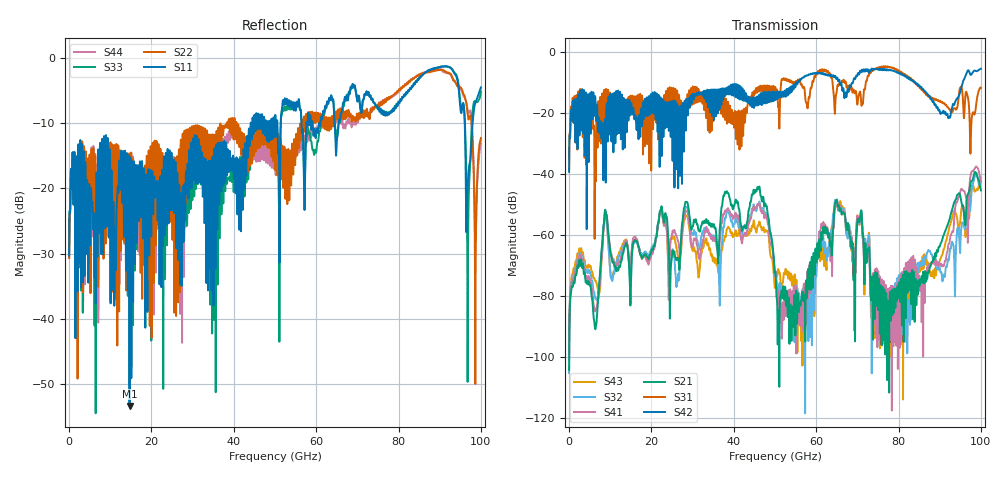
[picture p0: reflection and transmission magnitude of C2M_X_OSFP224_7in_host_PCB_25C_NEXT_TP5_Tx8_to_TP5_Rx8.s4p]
# GHz S RI R 45
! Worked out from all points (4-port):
!   4000 points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, 25 MHz to 100 GHz, reference 45 ohm
!   strongest paths, dB at 25 MHz, 25.02 GHz, 50.02 GHz, 75.03 GHz, 100 GHz:
!     S42: -39.2, -18.3, -14.0, -5.4, -5.4
!     S31: -38.3, -14.7, -11.4, -4.9, -11.6
!     S21: -104.3, -66.3, -72.3, -83.8, -45.3
!     S41: -100.7, -59.4, -72.2, -72.6, -42.3
!     S32: -105.3, -65.3, -73.4, -74.4, -42.5
!     S43: -92.1, -60.8, -77.2, -81.3, -41.2
!   lowest |S11| = -53.3 dB at 14.7 GHz (marker M1), VSWR 1.00, Z = 45.2 + j0.0644 ohm
!   |S11| at or under -10 dB: start of sweep to 44.11 GHz; 59.15 GHz to 61.04 GHz (1.886 GHz wide, 3.14 % of centre); 96.08 GHz to 98 GHz (1.927 GHz wide, 1.99 % of centre) (the widest 3 of 23)
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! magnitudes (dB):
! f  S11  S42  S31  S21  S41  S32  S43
! 25 MHz  -30.3  -39.2  -38.3  -104.3  -100.7  -105.3  -92.1
! 14.7 GHz  -53.3  -16.0  -20.9  -72.6  -70.4  -72.8  -71.9
! 45.85 GHz  -9.0  -17.4  -11.8  -44.4  -49.9  -50.0  -56.8
! 50.85 GHz  -14.4  -12.9  -17.8  -84.6  -84.3  -79.7  -71.3
! 65.08 GHz  -12.4  -8.3  -11.7  -48.8  -48.4  -48.7  -50.8
! 85.58 GHz  -2.8  -11.4  -12.3  -73.7  -84.2  -69.0  -70.7
! 100 GHz  -4.6  -5.4  -11.6  -45.3  -42.3  -42.5  -41.2
